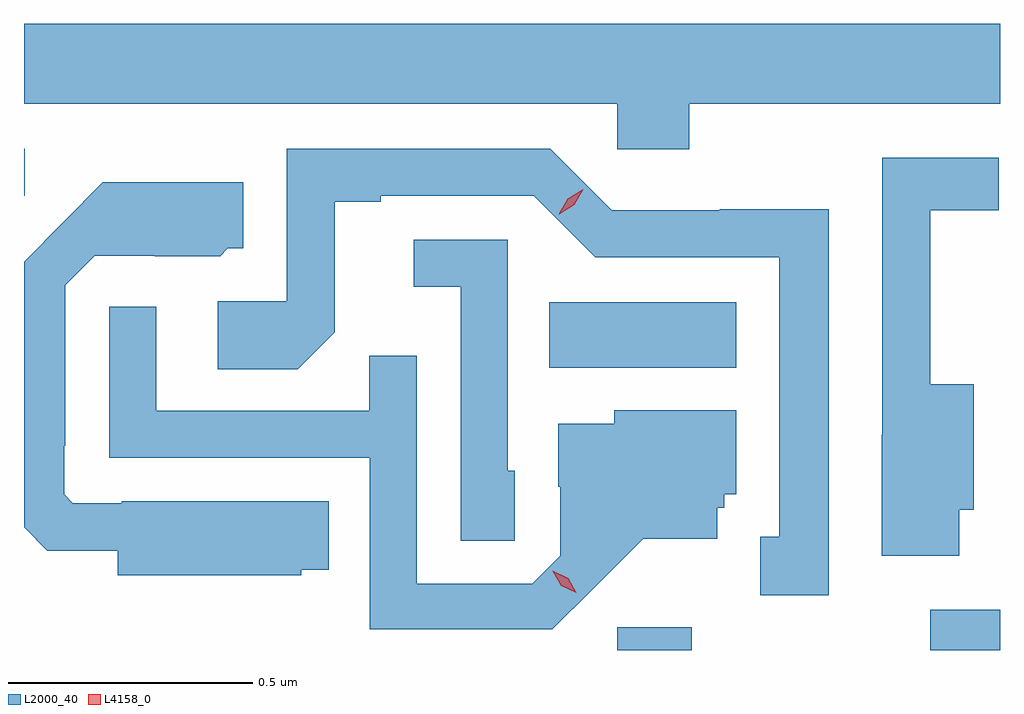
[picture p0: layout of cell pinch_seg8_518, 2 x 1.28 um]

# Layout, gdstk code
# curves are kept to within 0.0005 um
import gdstk
lib = gdstk.Library(unit=1e-6, precision=1e-09)
def R(c, l, rs):  # rectangles x0, y0, x1, y1
    for r in rs: c.add(gdstk.rectangle(r[:2], r[2:], *l))
def P(c, l, *ps):  # polygons
    for p in ps: c.add(gdstk.Polygon(p, *l))
L2000_40 = (2000, 40)
L4158_0 = (4158, 0)

pinch_seg8_518 = lib.new_cell('pinch_seg8_518')
R(pinch_seg8_518, L2000_40, [(204.996,1122.041,205.148,1122.088), (205.637,1122.041,205.78,1122.124), (204.856,1122.62,205.24,1122.754), (203.78,1122.972,203.782,1123.068)])
P(pinch_seg8_518, L2000_40, [(205.143,1123.16),(205.78,1123.16),(205.78,1123.324),(203.78,1123.324),(203.78,1123.16),(204.996,1123.16),(204.996,1123.067),(205.143,1123.067)],
  [(205.429,1122.944),(205.206,1122.944),(205.206,1122.942),(204.984,1122.942),(204.858,1123.068),(204.318,1123.068),(204.318,1122.756),(204.177,1122.756),(204.177,1122.616),(204.341,1122.616),(204.417,1122.692),(204.417,1122.96),(204.511,1122.96),(204.511,1122.972),(204.825,1122.972),(204.951,1122.846),(205.328,1122.846),(205.328,1122.273),(205.289,1122.273),(205.289,1122.153),(205.429,1122.153)],
  [(205.696,1122.329),(205.726,1122.329),(205.726,1122.586),(205.637,1122.586),(205.637,1122.942),(205.777,1122.942),(205.777,1123.05),(205.539,1123.05),(205.539,1122.482),(205.538,1122.482),(205.538,1122.234),(205.696,1122.234)],
  [(204.348,1122.206),(204.404,1122.206),(204.404,1122.346),(203.98,1122.346),(203.98,1122.342),(203.88,1122.342),(203.862,1122.36),(203.862,1122.46),(203.865,1122.46),(203.865,1122.789),(203.925,1122.849),(204.048,1122.849),(204.048,1122.848),(204.182,1122.848),(204.198,1122.864),(204.229,1122.864),(204.229,1123),(203.941,1123),(203.78,1122.837),(203.78,1122.293),(203.828,1122.245),(203.972,1122.245),(203.972,1122.194),(204.348,1122.194)],
  [(204.786,1122.408),(204.771,1122.408),(204.771,1122.882),(204.579,1122.882),(204.579,1122.785),(204.675,1122.785),(204.675,1122.265),(204.786,1122.265)],
  [(204.946,1122.167),(205.049,1122.269),(205.201,1122.269),(205.201,1122.333),(205.215,1122.333),(205.215,1122.36),(205.24,1122.36),(205.24,1122.532),(204.99,1122.532),(204.99,1122.505),(204.875,1122.505),(204.875,1122.376),(204.879,1122.376),(204.879,1122.234),(204.822,1122.177),(204.585,1122.177),(204.585,1122.644),(204.487,1122.644),(204.487,1122.531),(204.051,1122.531),(204.051,1122.745),(203.955,1122.745),(203.955,1122.435),(204.489,1122.435),(204.489,1122.084),(204.862,1122.084)])
P(pinch_seg8_518, L4158_0, [(204.876,1122.934),(204.876,1122.934),(204.894,1122.966),(204.926,1122.985),(204.926,1122.985),(204.926,1122.985),(204.908,1122.953),(204.877,1122.934)],
  [(204.912,1122.158),(204.881,1122.173),(204.864,1122.202),(204.864,1122.203),(204.864,1122.203),(204.895,1122.188),(204.912,1122.158),(204.912,1122.158)])

lib.write_gds('pinch_seg8_518.gds')
